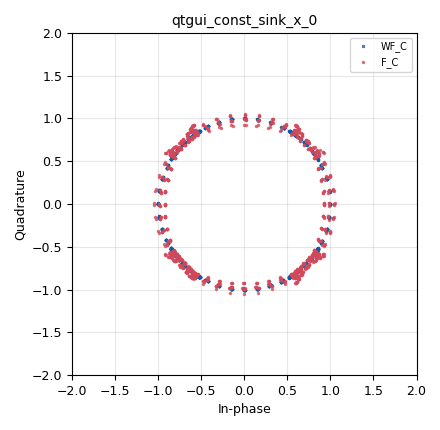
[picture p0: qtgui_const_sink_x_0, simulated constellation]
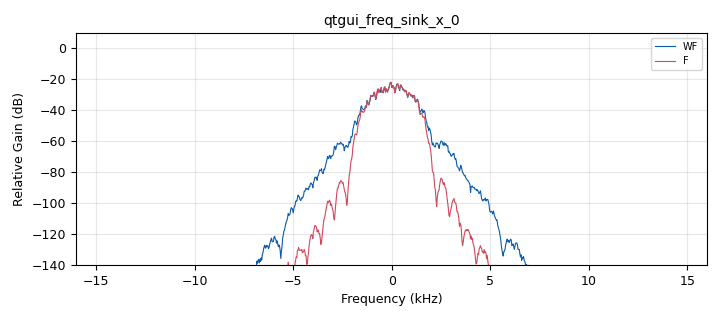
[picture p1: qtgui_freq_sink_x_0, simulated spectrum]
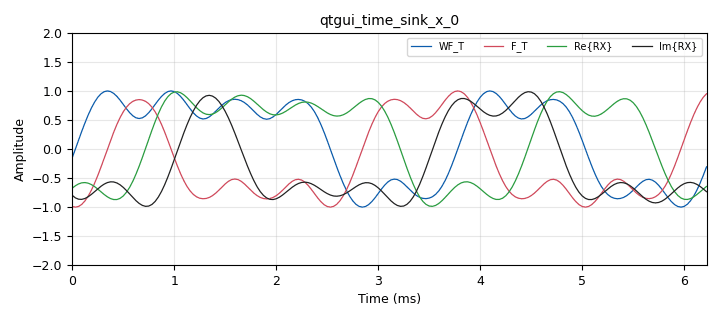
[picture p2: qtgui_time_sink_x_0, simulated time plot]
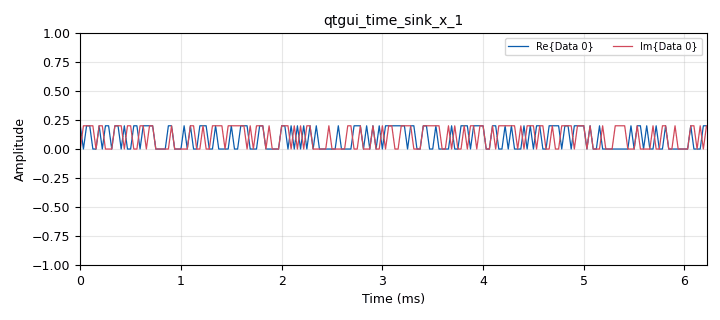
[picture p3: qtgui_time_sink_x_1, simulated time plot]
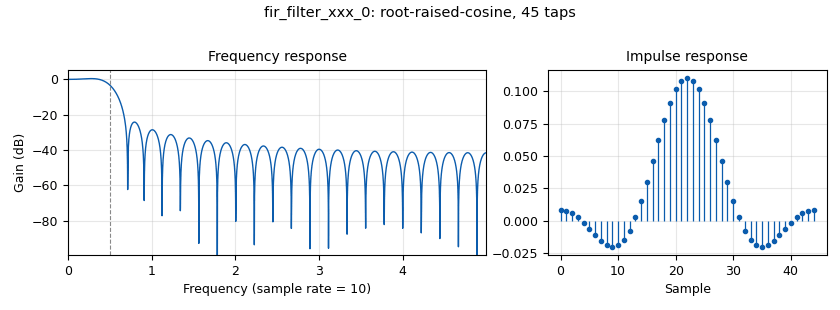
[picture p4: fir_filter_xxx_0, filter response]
options:
  parameters:
    author: varun_v_121
    category: Custom
    generate_options: qt_gui
    id: bpsk_stage1
    output_language: python
    title: bpsk_stage1
  states: {}

blocks:
- name: excess_bw
  id: variable
  parameters:
    value: '0.3'
  states: {}
- name: freq_offset
  id: variable_qtgui_range
  parameters:
    comment: 0,2,1,1
    gui_hint: 0,2,1,1
    label: Frequency Offset(ch)
    start: '-0.1'
    step: '0.001'
    stop: '0.1'
    value: '0'
  states: {}
- name: noise_volt
  id: variable_qtgui_range
  parameters:
    comment: 0,0,1,1
    gui_hint: 0,0,1,1
    label: ' Noise Voltage(ch)'
    start: '0'
    step: '0.01'
    stop: '1'
    value: '0.00'
  states: {}
- name: rrc_taps
  id: variable
  parameters:
    value: firdes.root_raised_cosine(1, sps, 1, excess_bw, 45)
  states: {}
- name: samp_rate
  id: variable
  parameters:
    value: '32000'
  states: {}
- name: sps
  id: variable
  parameters:
    value: '10'
  states: {}
- name: taps
  id: variable
  parameters:
    value: '[1.0 + 0.0j, ]'
  states: {}
- name: time_offset
  id: variable_qtgui_range
  parameters:
    comment: 0,1,1,1
    gui_hint: 0,1,1,1
    label: Timing Offset(ch)
    start: '0.999'
    step: '0.0001'
    stop: '1.001'
    value: '1'
  states: {}
- name: analog_random_source_x_0
  id: analog_random_source_x
  parameters:
    max: '256'
    min: '0'
    num_samps: '1024'
    repeat: 'True'
    type: byte
  states: {}
- name: blocks_interleaved_char_to_complex_0
  id: blocks_interleaved_char_to_complex
  parameters:
    scale_factor: '5'
    vector_input: 'False'
  states: {}
- name: blocks_throttle_0
  id: blocks_throttle
  parameters:
    samples_per_second: samp_rate
    type: complex
  states: {}
- name: blocks_throttle_0_0
  id: blocks_throttle
  parameters:
    samples_per_second: samp_rate
    type: complex
  states: {}
- name: channels_channel_model_0
  id: channels_channel_model
  parameters:
    epsilon: time_offset
    freq_offset: freq_offset
    noise_voltage: noise_volt
    seed: '0'
    taps: taps
  states: {}
- name: digital_gmsk_demod_0
  id: digital_gmsk_demod
  parameters:
    freq_error: '0'
    gain_mu: '0.175'
    mu: '0.5'
    omega_relative_limit: '0.005'
    samples_per_symbol: sps
  states: {}
- name: digital_gmsk_mod_0
  id: digital_gmsk_mod
  parameters:
    bt: excess_bw
    samples_per_symbol: sps
  states: {}
- name: fir_filter_xxx_0
  id: fir_filter_xxx
  parameters:
    decim: '1'
    taps: rrc_taps
    type: ccc
  states: {}
- name: qtgui_const_sink_x_0
  id: qtgui_const_sink_x
  parameters:
    comment: 0,2,1,2
    gui_hint: 1,2,1,2
    label1: WF_C
    label2: F_C
    nconnections: '2'
    size: '1024'
    type: complex
  states: {}
- name: qtgui_freq_sink_x_0
  id: qtgui_freq_sink_x
  parameters:
    average: '0.05'
    bw: samp_rate
    comment: 1,0,1,4
    fc: '0'
    fftsize: '1024'
    gui_hint: 2,2,1,2
    label1: WF
    label2: F
    nconnections: '2'
    type: complex
  states: {}
- name: qtgui_time_sink_x_0
  id: qtgui_time_sink_x
  parameters:
    alpha1: '0.5'
    alpha2: '0.5'
    alpha3: '0.5'
    alpha4: '0.5'
    comment: 0,0,1,2
    ctrlpanel: 'True'
    gui_hint: 1,0,1,2
    label1: WF_T
    label2: F_T
    label3: Re{RX}
    label4: Im{RX}
    name: ''
    nconnections: '2'
    size: '200'
    srate: samp_rate
    tr_mode: qtgui.TRIG_MODE_NORM
    type: complex
    ymax: '2'
    ymin: '-2'
  states: {}
- name: qtgui_time_sink_x_1
  id: qtgui_time_sink_x
  parameters:
    ctrlpanel: 'True'
    gui_hint: 2,0,1,2
    size: '200'
    srate: samp_rate
    type: complex
  states: {}
- name: virtual_sink_0
  id: virtual_sink
  parameters:
    stream_id: mod_out
  states: {}
- name: virtual_source_0
  id: virtual_source
  parameters:
    stream_id: mod_out
  states: {}

connections:
- [analog_random_source_x_0, '0', digital_gmsk_mod_0, '0']
- [blocks_interleaved_char_to_complex_0, '0', blocks_throttle_0_0, '0']
- [blocks_throttle_0, '0', fir_filter_xxx_0, '0']
- [blocks_throttle_0, '0', qtgui_const_sink_x_0, '0']
- [blocks_throttle_0, '0', qtgui_freq_sink_x_0, '0']
- [blocks_throttle_0, '0', qtgui_time_sink_x_0, '0']
- [blocks_throttle_0_0, '0', qtgui_time_sink_x_1, '0']
- [channels_channel_model_0, '0', blocks_throttle_0, '0']
- [channels_channel_model_0, '0', virtual_sink_0, '0']
- [digital_gmsk_demod_0, '0', blocks_interleaved_char_to_complex_0, '0']
- [digital_gmsk_mod_0, '0', channels_channel_model_0, '0']
- [fir_filter_xxx_0, '0', qtgui_const_sink_x_0, '1']
- [fir_filter_xxx_0, '0', qtgui_freq_sink_x_0, '1']
- [fir_filter_xxx_0, '0', qtgui_time_sink_x_0, '1']
- [virtual_source_0, '0', digital_gmsk_demod_0, '0']

metadata:
  file_format: 1
  grc_version: 3.10.10.0
